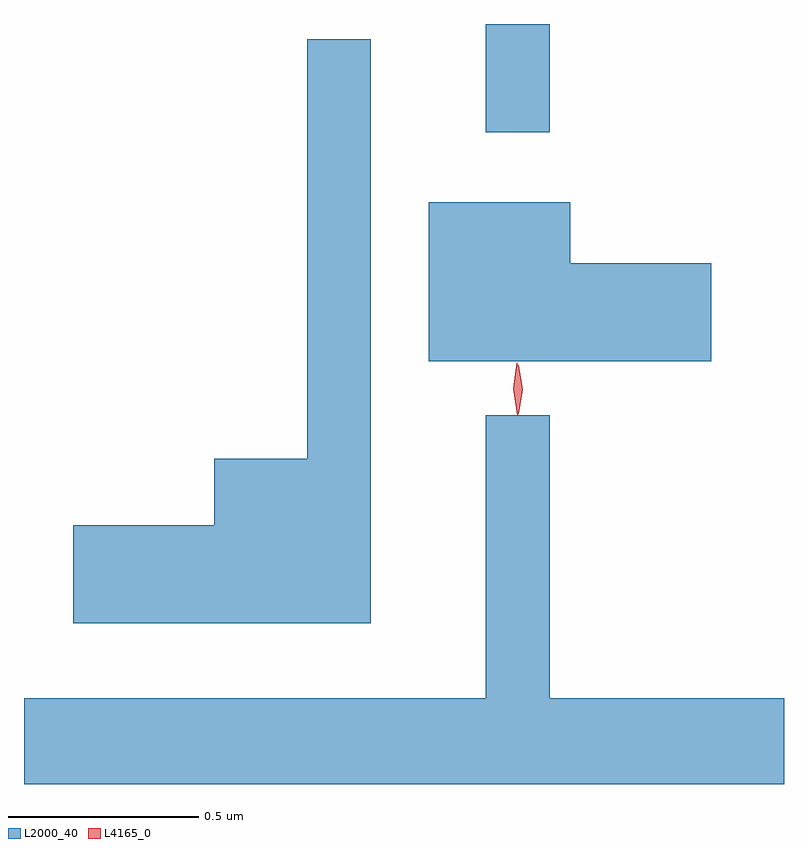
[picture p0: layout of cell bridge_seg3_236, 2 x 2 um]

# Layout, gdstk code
import gdstk
lib = gdstk.Library(unit=1e-6, precision=1e-09)
def R(c, l, rs):  # rectangles x0, y0, x1, y1
    for r in rs: c.add(gdstk.rectangle(r[:2], r[2:], *l))
def P(c, l, *ps):  # polygons
    for p in ps: c.add(gdstk.Polygon(p, *l))
L2000_40 = (2000, 40)
L4165_0 = (4165, 0)

bridge_seg3_236 = lib.new_cell('bridge_seg3_236')
R(bridge_seg3_236, L2000_40, [(967.481,1138.873,967.649,1139.158)])
P(bridge_seg3_236, L2000_40, [(967.179,1139.118),(967.011,1139.118),(967.011,1138.014),(966.766,1138.014),(966.766,1137.839),(966.396,1137.839),(966.396,1137.581),(967.179,1137.581)],
  [(968.074,1138.529),(967.704,1138.529),(967.704,1138.689),(967.331,1138.689),(967.331,1138.271),(968.074,1138.271)],
  [(968.266,1137.384),(967.649,1137.384),(967.649,1138.128),(967.481,1138.128),(967.481,1137.384),(966.266,1137.384),(966.266,1137.158),(968.266,1137.158)])
P(bridge_seg3_236, L4165_0, [(967.567,1138.133),(967.558,1138.196),(967.567,1138.26),(967.568,1138.26),(967.568,1138.26),(967.578,1138.196),(967.568,1138.133),(967.568,1138.133)],
  [(967.564,1138.13),(967.554,1138.198),(967.563,1138.266),(967.564,1138.266),(967.564,1138.266),(967.574,1138.198),(967.565,1138.13),(967.565,1138.13)])

lib.write_gds('bridge_seg3_236.gds')
